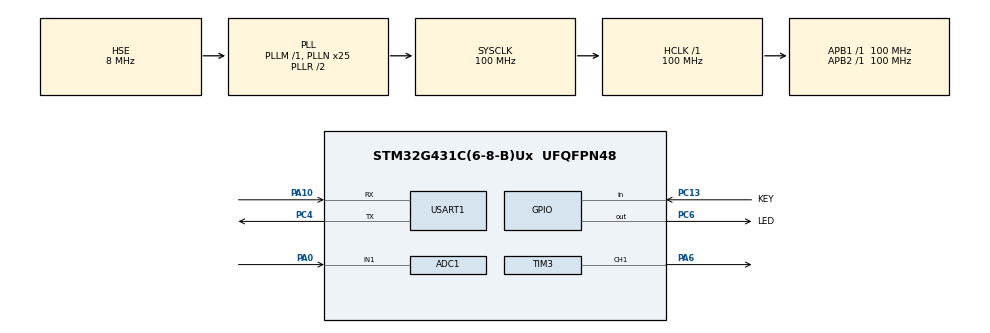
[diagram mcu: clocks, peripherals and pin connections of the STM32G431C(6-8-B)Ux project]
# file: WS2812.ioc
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ADC1.Channel-0\#ChannelRegularConversion=ADC_CHANNEL_1
ADC1.ClockPrescaler=ADC_CLOCK_ASYNC_DIV12
ADC1.ContinuousConvMode=DISABLE
ADC1.DMAContinuousRequests=ENABLE
ADC1.DiscontinuousConvMode=DISABLE
ADC1.EOCSelection=ADC_EOC_SINGLE_CONV
ADC1.ExternalTrigConv=ADC_EXTERNALTRIG_T6_TRGO
ADC1.NbrOfConversion=1
ADC1.NbrOfConversionFlag=1
ADC1.OffsetNumber-0\#ChannelRegularConversion=ADC_OFFSET_NONE
ADC1.Overrun=ADC_OVR_DATA_OVERWRITTEN
ADC1.Rank-0\#ChannelRegularConversion=1
ADC1.SamplingTime-0\#ChannelRegularConversion=ADC_SAMPLETIME_2CYCLES_5
ADC1.master=1
Dma.ADC1.0.Direction=DMA_PERIPH_TO_MEMORY
Dma.ADC1.0.EventEnable=DISABLE
Dma.ADC1.0.Instance=DMA1_Channel1
Dma.ADC1.0.MemDataAlignment=DMA_MDATAALIGN_WORD
Dma.ADC1.0.MemInc=DMA_MINC_ENABLE
Dma.ADC1.0.Mode=DMA_CIRCULAR
Dma.ADC1.0.PeriphDataAlignment=DMA_PDATAALIGN_WORD
Dma.ADC1.0.PeriphInc=DMA_PINC_DISABLE
Dma.ADC1.0.Polarity=HAL_DMAMUX_REQ_GEN_RISING
Dma.ADC1.0.Priority=DMA_PRIORITY_LOW
Dma.ADC1.0.RequestNumber=1
Dma.ADC1.0.SignalID=NONE
Dma.ADC1.0.SyncEnable=DISABLE
Dma.ADC1.0.SyncPolarity=HAL_DMAMUX_SYNC_NO_EVENT
Dma.ADC1.0.SyncRequestNumber=1
Dma.ADC1.0.SyncSignalID=NONE
Dma.Request0=ADC1
Dma.Request1=TIM3_CH1
Dma.TIM3_CH1.1.Direction=DMA_MEMORY_TO_PERIPH
Dma.TIM3_CH1.1.EventEnable=DISABLE
Dma.TIM3_CH1.1.Instance=DMA1_Channel2
Dma.TIM3_CH1.1.MemDataAlignment=DMA_MDATAALIGN_HALFWORD
Dma.TIM3_CH1.1.MemInc=DMA_MINC_ENABLE
Dma.TIM3_CH1.1.Mode=DMA_NORMAL
Dma.TIM3_CH1.1.PeriphDataAlignment=DMA_PDATAALIGN_HALFWORD
Dma.TIM3_CH1.1.PeriphInc=DMA_PINC_DISABLE
Dma.TIM3_CH1.1.Polarity=HAL_DMAMUX_REQ_GEN_RISING
Dma.TIM3_CH1.1.Priority=DMA_PRIORITY_LOW
Dma.TIM3_CH1.1.RequestNumber=1
Dma.TIM3_CH1.1.SignalID=NONE
Dma.TIM3_CH1.1.SyncEnable=DISABLE
Dma.TIM3_CH1.1.SyncPolarity=HAL_DMAMUX_SYNC_NO_EVENT
Dma.TIM3_CH1.1.SyncRequestNumber=1
Dma.TIM3_CH1.1.SyncSignalID=NONE
Mcu.Family=STM32G4
Mcu.Name=STM32G431C(6-8-B)Ux
Mcu.Package=UFQFPN48
NVIC.DMA1_Channel1_IRQn=true\:0\:0\:false\:false\:true\:false\:true\:true
NVIC.DMA1_Channel2_IRQn=true\:0\:0\:false\:false\:true\:false\:true\:true
NVIC.PriorityGroup=NVIC_PRIORITYGROUP_4
PA0.Mode=IN1-Single-Ended
PA0.Signal=ADC1_IN1
PA10.Mode=Asynchronous
PA10.Signal=USART1_RX
PA13.Mode=Trace_Asynchronous_SW
PA13.Signal=SYS_JTMS-SWDIO
PA14.Mode=Trace_Asynchronous_SW
PA14.Signal=SYS_JTCK-SWCLK
PA6.Signal=S_TIM3_CH1
PB3.Mode=Trace_Asynchronous_SW
PB3.Signal=SYS_JTDO-SWO
PC13.GPIO_Label=KEY
PC13.GPIO_PuPd=GPIO_PULLDOWN
PC13.Signal=GPIO_Input
PC4.Mode=Asynchronous
PC4.Signal=USART1_TX
PC6.GPIO_Label=LED
PC6.GPIO_ModeDefaultOutputPP=GPIO_MODE_OUTPUT_PP
PC6.GPIO_Speed=GPIO_SPEED_FREQ_LOW
PC6.PinState=GPIO_PIN_RESET
PC6.Signal=GPIO_Output
PF0-OSC_IN.Mode=HSE-External-Oscillator
PF0-OSC_IN.Signal=RCC_OSC_IN
PF1-OSC_OUT.Mode=HSE-External-Oscillator
PF1-OSC_OUT.Signal=RCC_OSC_OUT
ProjectManager.HeapSize=0x200
ProjectManager.StackSize=0x400
ProjectManager.TargetToolchain=STM32CubeIDE
RCC.ADC12Freq_Value=100000000
RCC.AHBFreq_Value=100000000
RCC.APB1Freq_Value=100000000
RCC.APB1TimFreq_Value=100000000
RCC.APB2Freq_Value=100000000
RCC.APB2TimFreq_Value=100000000
RCC.CortexFreq_Value=100000000
RCC.EXTERNAL_CLOCK_VALUE=12288000
RCC.HCLKFreq_Value=100000000
RCC.HSE_VALUE=8000000
RCC.HSI48_VALUE=48000000
RCC.HSI_VALUE=16000000
RCC.LSE_VALUE=32768
RCC.PLLN=25
RCC.PLLSourceVirtual=RCC_PLLSOURCE_HSE
RCC.SYSCLKFreq_VALUE=100000000
RCC.SYSCLKSource=RCC_SYSCLKSOURCE_PLLCLK
RCC.USBFreq_Value=100000000
RCC.VCOOutputFreq_Value=200000000
SH.S_TIM3_CH1.0=TIM3_CH1,PWM Generation1 CH1
TIM3.Channel-PWM\ Generation1\ CH1=TIM_CHANNEL_1
TIM3.PeriodNoDither=125-1
USART1.VirtualMode-Asynchronous=VM_ASYNC
VP_SYS_VS_DBSignals.Mode=DisableDeadBatterySignals
board=custom

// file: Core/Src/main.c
/* USER CODE BEGIN Header */
/**
  ******************************************************************************
  * @file           : main.c
  * @brief          : Main program body
  ******************************************************************************
  * @attention
  *
  * Copyright (c) 2025 STMicroelectronics.
  * All rights reserved.
  *
  * This software is licensed under terms that can be found in the LICENSE file
  * in the root directory of this software component.
  * If no LICENSE file comes with this software, it is provided AS-IS.
  *
  ******************************************************************************
  */
/* USER CODE END Header */
#include "main.h"

/* USER CODE BEGIN Includes */
#include "ws2812.h"
/* USER CODE END Includes */

ADC_HandleTypeDef hadc1;
DMA_HandleTypeDef hdma_adc1;

TIM_HandleTypeDef htim3;
DMA_HandleTypeDef hdma_tim3_ch1;

UART_HandleTypeDef huart1;

/* USER CODE BEGIN PV */

WS2812Struct ws2812;

/* USER CODE END PV */

void SystemClock_Config(void);
static void MX_GPIO_Init(void);
static void MX_DMA_Init(void);
static void MX_ADC1_Init(void);
static void MX_USART1_UART_Init(void);
static void MX_TIM3_Init(void);

/* USER CODE BEGIN 0 */

void HAL_TIM_PWM_PulseFinishedCallback(TIM_HandleTypeDef *htim)
{
	WS2812_SendFinishedCallback(&ws2812);
}

uint8_t EffectStep = 0;

void Rainbow_Effect() {
  float factor1, factor2;
  uint16_t ind;

  for(uint16_t j=0;j<8;j++) {
    ind = EffectStep + j * 1.625;
    switch((int)((ind % 13) / 4.33f)) {
      case 0: factor1 = 1.0 - ((float)(ind % 13 - 0 * 4.33f) / 4.33f);
              factor2 = (float)((int)(ind - 0) % 13) / 4.33f;
              WS2812_SetLED(&ws2812, j, 255 * factor1 + 0 * factor2, 0 * factor1 + 255 * factor2, 0 * factor1 + 0 * factor2);
              break;
      case 1: factor1 = 1.0 - ((float)(ind % 13 - 1 * 4.33f) / 4.33f);
              factor2 = (float)((int)(ind - 4.33f) % 13) / 4.33f;
              WS2812_SetLED(&ws2812, j, 0 * factor1 + 0 * factor2, 255 * factor1 + 0 * factor2, 0 * factor1 + 255 * factor2);
              break;
      case 2: factor1 = 1.0 - ((float)(ind % 13 - 2 * 4.33f) / 4.33f);
              factor2 = (float)((int)(ind - 8.66f) % 13) / 4.33f;
              WS2812_SetLED(&ws2812, j, 0 * factor1 + 255 * factor2, 0 * factor1 + 0 * factor2, 255 * factor1 + 0 * factor2);
              break;
    }

    WS2812_Send(&ws2812);
  }

  if(EffectStep >= 13) {
	  EffectStep=0;
  } else {
	  EffectStep++;
  }
}

/* USER CODE END 0 */

int main(void)
{

  /* MCU Configuration--------------------------------------------------------*/

  /* Reset of all peripherals, Initializes the Flash interface and the Systick. */
  HAL_Init();

  /* Configure the system clock */
  SystemClock_Config();

  /* Initialize all configured peripherals */
  MX_GPIO_Init();
  MX_DMA_Init();
  MX_ADC1_Init();
  MX_USART1_UART_Init();
  MX_TIM3_Init();
  /* USER CODE BEGIN 2 */

  HAL_Delay (500);

  WS2812_Init(&ws2812, &htim3, TIM_CHANNEL_1);
  WS2812_SetBrightness(&ws2812, 1); // 1...100

  WS2812_SetLED(&ws2812, 0, 255, 0, 0);
  WS2812_SetLED(&ws2812, 1, 0, 255, 0);
  WS2812_SetLED(&ws2812, 2, 0, 0, 255);
  WS2812_SetLED(&ws2812, 3, 255, 255, 0);
  WS2812_SetLED(&ws2812, 4, 0, 255, 255);
  WS2812_SetLED(&ws2812, 5, 255, 0, 255);
  WS2812_SetLED(&ws2812, 6, 127, 127, 127);
  WS2812_SetLED(&ws2812, 7, 100, 200, 255);

  WS2812_Send(&ws2812);

  HAL_Delay (1000);

  for (uint8_t i=0 ; i<8; i++) {
	  WS2812_SetLED(&ws2812, i, 0, 0, 0);
  }
  WS2812_Send(&ws2812);
  HAL_Delay (500);

  /* USER CODE END 2 */

  /* Infinite loop */
  /* USER CODE BEGIN WHILE */
  while (1)
  {
	  Rainbow_Effect();
	  HAL_Delay (50);

    /* USER CODE END WHILE */

  }
}

void SystemClock_Config(void)
{
  RCC_OscInitTypeDef RCC_OscInitStruct = {0};
  RCC_ClkInitTypeDef RCC_ClkInitStruct = {0};

  /** Configure the main internal regulator output voltage
  */
  HAL_PWREx_ControlVoltageScaling(PWR_REGULATOR_VOLTAGE_SCALE1);

  /** Initializes the RCC Oscillators according to the specified parameters
  * in the RCC_OscInitTypeDef structure.
  */
  RCC_OscInitStruct.OscillatorType = RCC_OSCILLATORTYPE_HSE;
  RCC_OscInitStruct.HSEState = RCC_HSE_ON;
  RCC_OscInitStruct.PLL.PLLState = RCC_PLL_ON;
  RCC_OscInitStruct.PLL.PLLSource = RCC_PLLSOURCE_HSE;
  RCC_OscInitStruct.PLL.PLLM = RCC_PLLM_DIV1;
  RCC_OscInitStruct.PLL.PLLN = 25;
  RCC_OscInitStruct.PLL.PLLP = RCC_PLLP_DIV2;
  RCC_OscInitStruct.PLL.PLLQ = RCC_PLLQ_DIV2;
  RCC_OscInitStruct.PLL.PLLR = RCC_PLLR_DIV2;
  if (HAL_RCC_OscConfig(&RCC_OscInitStruct) != HAL_OK)
  {
    Error_Handler();
  }

  /** Initializes the CPU, AHB and APB buses clocks
  */
  RCC_ClkInitStruct.ClockType = RCC_CLOCKTYPE_HCLK|RCC_CLOCKTYPE_SYSCLK
                              |RCC_CLOCKTYPE_PCLK1|RCC_CLOCKTYPE_PCLK2;
  RCC_ClkInitStruct.SYSCLKSource = RCC_SYSCLKSOURCE_PLLCLK;
  RCC_ClkInitStruct.AHBCLKDivider = RCC_SYSCLK_DIV1;
  RCC_ClkInitStruct.APB1CLKDivider = RCC_HCLK_DIV1;
  RCC_ClkInitStruct.APB2CLKDivider = RCC_HCLK_DIV1;

  if (HAL_RCC_ClockConfig(&RCC_ClkInitStruct, FLASH_LATENCY_3) != HAL_OK)
  {
    Error_Handler();
  }
}

static void MX_ADC1_Init(void)
{

  ADC_MultiModeTypeDef multimode = {0};
  ADC_ChannelConfTypeDef sConfig = {0};

  /** Common config
  */
  hadc1.Instance = ADC1;
  hadc1.Init.ClockPrescaler = ADC_CLOCK_ASYNC_DIV12;
  hadc1.Init.Resolution = ADC_RESOLUTION_12B;
  hadc1.Init.DataAlign = ADC_DATAALIGN_RIGHT;
  hadc1.Init.GainCompensation = 0;
  hadc1.Init.ScanConvMode = ADC_SCAN_DISABLE;
  hadc1.Init.EOCSelection = ADC_EOC_SINGLE_CONV;
  hadc1.Init.LowPowerAutoWait = DISABLE;
  hadc1.Init.ContinuousConvMode = DISABLE;
  hadc1.Init.NbrOfConversion = 1;
  hadc1.Init.DiscontinuousConvMode = DISABLE;
  hadc1.Init.ExternalTrigConv = ADC_EXTERNALTRIG_T6_TRGO;
  hadc1.Init.ExternalTrigConvEdge = ADC_EXTERNALTRIGCONVEDGE_RISING;
  hadc1.Init.DMAContinuousRequests = ENABLE;
  hadc1.Init.Overrun = ADC_OVR_DATA_OVERWRITTEN;
  hadc1.Init.OversamplingMode = DISABLE;
  if (HAL_ADC_Init(&hadc1) != HAL_OK)
  {
    Error_Handler();
  }

  /** Configure the ADC multi-mode
  */
  multimode.Mode = ADC_MODE_INDEPENDENT;
  if (HAL_ADCEx_MultiModeConfigChannel(&hadc1, &multimode) != HAL_OK)
  {
    Error_Handler();
  }

  /** Configure Regular Channel
  */
  sConfig.Channel = ADC_CHANNEL_1;
  sConfig.Rank = ADC_REGULAR_RANK_1;
  sConfig.SamplingTime = ADC_SAMPLETIME_2CYCLES_5;
  sConfig.SingleDiff = ADC_SINGLE_ENDED;
  sConfig.OffsetNumber = ADC_OFFSET_NONE;
  sConfig.Offset = 0;
  if (HAL_ADC_ConfigChannel(&hadc1, &sConfig) != HAL_OK)
  {
    Error_Handler();
  }

}

static void MX_TIM3_Init(void)
{

  TIM_MasterConfigTypeDef sMasterConfig = {0};
  TIM_OC_InitTypeDef sConfigOC = {0};

  htim3.Instance = TIM3;
  htim3.Init.Prescaler = 0;
  htim3.Init.CounterMode = TIM_COUNTERMODE_UP;
  htim3.Init.Period = 124;
  htim3.Init.ClockDivision = TIM_CLOCKDIVISION_DIV1;
  htim3.Init.AutoReloadPreload = TIM_AUTORELOAD_PRELOAD_DISABLE;
  if (HAL_TIM_PWM_Init(&htim3) != HAL_OK)
  {
    Error_Handler();
  }
  sMasterConfig.MasterOutputTrigger = TIM_TRGO_RESET;
  sMasterConfig.MasterSlaveMode = TIM_MASTERSLAVEMODE_DISABLE;
  if (HAL_TIMEx_MasterConfigSynchronization(&htim3, &sMasterConfig) != HAL_OK)
  {
    Error_Handler();
  }
  sConfigOC.OCMode = TIM_OCMODE_PWM1;
  sConfigOC.Pulse = 0;
  sConfigOC.OCPolarity = TIM_OCPOLARITY_HIGH;
  sConfigOC.OCFastMode = TIM_OCFAST_DISABLE;
  if (HAL_TIM_PWM_ConfigChannel(&htim3, &sConfigOC, TIM_CHANNEL_1) != HAL_OK)
  {
    Error_Handler();
  }
  HAL_TIM_MspPostInit(&htim3);

}

static void MX_USART1_UART_Init(void)
{

  huart1.Instance = USART1;
  huart1.Init.BaudRate = 115200;
  huart1.Init.WordLength = UART_WORDLENGTH_8B;
  huart1.Init.StopBits = UART_STOPBITS_1;
  huart1.Init.Parity = UART_PARITY_NONE;
  huart1.Init.Mode = UART_MODE_TX_RX;
  huart1.Init.HwFlowCtl = UART_HWCONTROL_NONE;
  huart1.Init.OverSampling = UART_OVERSAMPLING_16;
  huart1.Init.OneBitSampling = UART_ONE_BIT_SAMPLE_DISABLE;
  huart1.Init.ClockPrescaler = UART_PRESCALER_DIV1;
  huart1.AdvancedInit.AdvFeatureInit = UART_ADVFEATURE_NO_INIT;
  if (HAL_UART_Init(&huart1) != HAL_OK)
  {
    Error_Handler();
  }
  if (HAL_UARTEx_SetTxFifoThreshold(&huart1, UART_TXFIFO_THRESHOLD_1_8) != HAL_OK)
  {
    Error_Handler();
  }
  if (HAL_UARTEx_SetRxFifoThreshold(&huart1, UART_RXFIFO_THRESHOLD_1_8) != HAL_OK)
  {
    Error_Handler();
  }
  if (HAL_UARTEx_DisableFifoMode(&huart1) != HAL_OK)
  {
    Error_Handler();
  }

}

static void MX_DMA_Init(void)
{

  /* DMA controller clock enable */
  __HAL_RCC_DMAMUX1_CLK_ENABLE();
  __HAL_RCC_DMA1_CLK_ENABLE();

  /* DMA interrupt init */
  /* DMA1_Channel1_IRQn interrupt configuration */
  HAL_NVIC_SetPriority(DMA1_Channel1_IRQn, 0, 0);
  HAL_NVIC_EnableIRQ(DMA1_Channel1_IRQn);
  /* DMA1_Channel2_IRQn interrupt configuration */
  HAL_NVIC_SetPriority(DMA1_Channel2_IRQn, 0, 0);
  HAL_NVIC_EnableIRQ(DMA1_Channel2_IRQn);

}

static void MX_GPIO_Init(void)
{
  GPIO_InitTypeDef GPIO_InitStruct = {0};

  /* GPIO Ports Clock Enable */
  __HAL_RCC_GPIOC_CLK_ENABLE();
  __HAL_RCC_GPIOF_CLK_ENABLE();
  __HAL_RCC_GPIOA_CLK_ENABLE();
  __HAL_RCC_GPIOB_CLK_ENABLE();

  /*Configure GPIO pin Output Level */
  HAL_GPIO_WritePin(LED_GPIO_Port, LED_Pin, GPIO_PIN_RESET);

  /*Configure GPIO pin : KEY_Pin */
  GPIO_InitStruct.Pin = KEY_Pin;
  GPIO_InitStruct.Mode = GPIO_MODE_INPUT;
  GPIO_InitStruct.Pull = GPIO_PULLDOWN;
  HAL_GPIO_Init(KEY_GPIO_Port, &GPIO_InitStruct);

  /*Configure GPIO pin : LED_Pin */
  GPIO_InitStruct.Pin = LED_Pin;
  GPIO_InitStruct.Mode = GPIO_MODE_OUTPUT_PP;
  GPIO_InitStruct.Pull = GPIO_NOPULL;
  GPIO_InitStruct.Speed = GPIO_SPEED_FREQ_LOW;
  HAL_GPIO_Init(LED_GPIO_Port, &GPIO_InitStruct);

}

void Error_Handler(void)
{
  __disable_irq();
  while (1)
  {
  }
}
